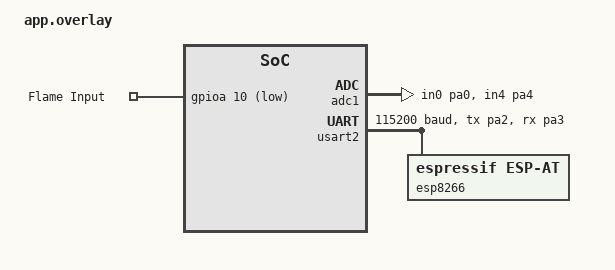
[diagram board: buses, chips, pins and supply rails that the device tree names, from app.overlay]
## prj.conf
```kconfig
# Console and logging
CONFIG_SERIAL=y
CONFIG_CONSOLE=y
CONFIG_UART_CONSOLE=y
CONFIG_STDOUT_CONSOLE=y
CONFIG_PRINTK=y

# UART driver (with async API)
CONFIG_UART_ASYNC_API=y
CONFIG_UART_INTERRUPT_DRIVEN=y
CONFIG_UART_LINE_CTRL=y

# Kernel / threads
CONFIG_MAIN_STACK_SIZE=2048
CONFIG_MULTITHREADING=y

# Optional: logging levels (for debugging)
CONFIG_LOG=y
CONFIG_LOG_DEFAULT_LEVEL=3
```

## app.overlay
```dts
&adc1 {
    pinctrl-0 = <&adc1_in0_pa0 &adc1_in4_pa4>;
    pinctrl-names = "default";
    status = "okay";
};

/ {
    flame_sensor: flame_sensor {
        compatible = "gpio-keys";
        label = "Flame Sensor";

        flame_input: flame_input {
            gpios = <&gpioa 10 GPIO_ACTIVE_LOW>;
            label = "Flame Input";
        };
    };
};

&usart2 {
	pinctrl-0 = <&usart2_tx_pa2 &usart2_rx_pa3>;
	pinctrl-names = "default";
	current-speed = <115200>;
	status = "okay";

    esp8266 {
		compatible = "espressif,esp-at";
		status = "okay";
	};
};
```

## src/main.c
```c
#include <zephyr/kernel.h>
#include <zephyr/drivers/adc.h>
#include <zephyr/drivers/gpio.h>
#include <zephyr/drivers/uart.h>
#include <zephyr/sys/printk.h>
#include <zephyr/sys/util.h>
#include <zephyr/types.h>
#include <string.h>

#define STACK_SIZE 1024
#define SMOKE_PRIORITY 5
#define FLAME_PRIORITY 4

/* === WiFi credentials === */
#define WIFI_SSID "Swamp"
#define WIFI_PASS "doodle123"

/* === ADC Setup === */
#define ADC_NODE DT_NODELABEL(adc1)   /* Use ADC1 */
#define ADC_CHANNEL_SMOKE 0           /* channel 0 (PA0) */
#define ADC_RESOLUTION 12
#define ADC_GAIN ADC_GAIN_1
#define ADC_REFERENCE ADC_REF_INTERNAL
#define ADC_ACQUISITION_TIME ADC_ACQ_TIME_DEFAULT

static const struct device *adc_dev = DEVICE_DT_GET(ADC_NODE);
static int16_t smoke_buffer;

/* Flame digital input */
#define DIGITAL_FLAME_NODE DT_NODELABEL(flame_input)
static const struct gpio_dt_spec flame = GPIO_DT_SPEC_GET(DIGITAL_FLAME_NODE, gpios);

/* LED */
#define LED_NODE DT_ALIAS(led0)
static const struct gpio_dt_spec led = GPIO_DT_SPEC_GET(LED_NODE, gpios);

/* Threshold */
#define SMOKE_THRESHOLD 1500

/* ADC config */
static const struct adc_channel_cfg smoke_cfg = {
    .gain             = ADC_GAIN,
    .reference        = ADC_REFERENCE,
    .acquisition_time = ADC_ACQUISITION_TIME,
    .channel_id       = ADC_CHANNEL_SMOKE,
};

/* UART (ESP-01) */
#define UART_NODE DT_NODELABEL(usart2)
static const struct device *uart_dev = DEVICE_DT_GET(UART_NODE);

/* Configure UART parameters */
struct uart_config uart_cfg = {
    .baudrate = 115200,
    .parity = UART_CFG_PARITY_NONE,
    .stop_bits = UART_CFG_STOP_BITS_1,
    .data_bits = UART_CFG_DATA_BITS_8,
    .flow_ctrl = UART_CFG_FLOW_CTRL_NONE,
};


/* Thread stacks */
K_THREAD_STACK_DEFINE(smoke_stack, STACK_SIZE);
K_THREAD_STACK_DEFINE(flame_stack, STACK_SIZE);
struct k_thread smoke_tid;
struct k_thread flame_tid;

/* Mutex to guard UART/ESP access so threads don't interleave AT commands */
static struct k_mutex uart_mutex;

/* Small helper: poll-out a zero-terminated string */
static void uart_send_str(const char *s)
{
    for (size_t i = 0; i < strlen(s); ++i) {
        uart_poll_out(uart_dev, s[i]);
    }
}

/* Send command (adds CRLF). Caller must hold uart_mutex if parallel access possible. */
static void esp_send_cmd(const char *cmd)
{
    uart_send_str(cmd);
    uart_poll_out(uart_dev, '\r');
    uart_poll_out(uart_dev, '\n');
    printk(">>>ESP: %s\n", cmd);
}

/* =================== MODIFIED esp_read_response ===================
 * Read available characters from UART into buffer with timeout_ms (non-blocking poll). 
 * Returns number of bytes read (>=0) or -1 on error.
 * Caller must hold mutex if desired.
 * Now prints every response automatically.
 */
static int esp_read_response(char *buf, size_t buf_size, int timeout_ms)
{
    size_t idx = 0;
    int elapsed = 0;
    while (elapsed < timeout_ms && idx < buf_size - 1) {
        int c = uart_poll_in(uart_dev, (unsigned char *)&buf[idx]);
        if (c == 0) {
            /* got one byte */
            idx++;
            continue;
        }
        /* no data yet */
        k_msleep(10);
        elapsed += 10;
    }
    buf[idx] = '\0';

    if (idx > 0) {
        printk("<<<ESP: %s\n", buf);   /* <-- print raw response */
    }

    return (int)idx;
}
/* ================================================================== */

/* Wait for substring in response (simple helper). Returns true if found within timeout_ms. */
static bool esp_expect(const char *needle, int timeout_ms)
{
    char resp[256];
    int elapsed = 0;

    while (elapsed < timeout_ms) {
        int len = esp_read_response(resp, sizeof(resp), 500);
        if (len > 0) {
            if (strstr(resp, needle) != NULL) {
                return true;
            }
        }
        elapsed += 500;
    }
    return false;
}


/* Initialize/Connect ESP to your WiFi hotspot */
static bool esp_wifi_connect(void)
{
    char buf[256];

    if (!device_is_ready(uart_dev)) {
        printk("UART device not ready\n");
        return false;
    }

    k_mutex_lock(&uart_mutex, K_FOREVER);

    /* Reset module */
    esp_send_cmd("AT+RST");
    k_msleep(5000);
    /* Clear any startup lines */
    esp_read_response(buf, sizeof(buf), 500);

    /* Set station mode */
    esp_send_cmd("AT+CWMODE=1");
    k_msleep(500);
    esp_read_response(buf, sizeof(buf), 500);

    /* Connect to WiFi */
    snprintf(buf, sizeof(buf), "AT+CWJAP=\"%s\",\"%s\"", WIFI_SSID, WIFI_PASS);
    esp_send_cmd(buf);

    /* wait up to 10s for connection */
    bool ok = esp_expect("WIFI CONNECTED", 10000) || esp_expect("OK", 10000);
    if (!ok) {
        printk("ESP WiFi join failed\n");
        k_mutex_unlock(&uart_mutex);
        return false;
    }

    /* optionally check IP */
    esp_send_cmd("AT+CIFSR");
    k_msleep(500);
    esp_read_response(buf, sizeof(buf), 500);

    k_mutex_unlock(&uart_mutex);
    printk("ESP connected to WiFi (attempted)\n");
    return true;
}

/* Send an HTTP POST via ESP (blocking, protected by mutex) 
 * host: e.g. "www.google.com"
 * port: 80
 * path: "/"
 * payload: body string
 *
 * Returns 0 on (attempted) send, -1 on error.
 */
static int esp_http_post(const char *host, int port, const char *path, const char *payload)
{
    char cmd[128];
    char http_req[512];
    int payload_len = strlen(payload);

    k_mutex_lock(&uart_mutex, K_FOREVER);

    /* Start TCP connection */
    snprintf(cmd, sizeof(cmd), "AT+CIPSTART=\"TCP\",\"%s\",%d", host, port);
    esp_send_cmd(cmd);

    /* wait for CONNECT or OK */
    if (!esp_expect("CONNECT", 5000) && !esp_expect("OK", 5000)) {
        printk("CIPSTART failed for %s\n", host);
        /* attempt to close any partial connection */
        esp_send_cmd("AT+CIPCLOSE");
        k_mutex_unlock(&uart_mutex);
        return -1;
    }
    k_msleep(200);

    /* Build HTTP request */
    snprintf(http_req, sizeof(http_req),
             "POST %s HTTP/1.1\r\n"
             "Host: %s\r\n"
             "Content-Type: application/x-www-form-urlencoded\r\n"
             "Content-Length: %d\r\n\r\n"
             "%s",
             path, host, payload_len, payload);

    /* Tell ESP how many bytes we will send */
    snprintf(cmd, sizeof(cmd), "AT+CIPSEND=%d", (int)strlen(http_req));
    esp_send_cmd(cmd);

    /* ESP will respond with '>' when ready to receive; wait 2s */
    if (!esp_expect(">", 3000)) {
        printk("CIPSEND prompt not received\n");
        esp_send_cmd("AT+CIPCLOSE");
        k_mutex_unlock(&uart_mutex);
        return -1;
    }

    /* Send the actual HTTP request */
    uart_send_str(http_req);
    /* some firmwares need CRLF at end */
    uart_poll_out(uart_dev, '\r');
    uart_poll_out(uart_dev, '\n');

    /* Wait for "SEND OK" or server response (short timeout) */
    esp_read_response(cmd, sizeof(cmd), 3000);
    printk("HTTP send response: %s\n", cmd);

    /* Close connection */
    esp_send_cmd("AT+CIPCLOSE");
    k_msleep(200);

    k_mutex_unlock(&uart_mutex);
    return 0;
}

/* Smoke thread: reads analog smoke sensor, toggles LED and sends POST to google */
void smoke_thread(void *arg1, void *arg2, void *arg3)
{
    struct adc_sequence sequence = {
        .channels = BIT(ADC_CHANNEL_SMOKE),
        .buffer = &smoke_buffer,
        .buffer_size = sizeof(smoke_buffer),
        .resolution = ADC_RESOLUTION,
    };

    /* Ensure ADC is ready (main already set up but double-check) */
    if (!device_is_ready(adc_dev)) {
        printk("ADC device not ready in smoke thread\n");
        return;
    }

    while (1) {
        if (adc_read(adc_dev, &sequence) != 0) {
            printk("ADC smoke read failed\n");
            k_msleep(1000);
            continue;
        }

        printk("Smoke: %d\n", smoke_buffer);
        if (smoke_buffer > SMOKE_THRESHOLD) {
            gpio_pin_set_dt(&led, 1);
        } else {
            gpio_pin_set_dt(&led, 0);
        }

        /* Prepare payload and post to Google (port 80, path /) */
        char payload[64];
        snprintf(payload, sizeof(payload), "Smoke=%d", smoke_buffer);

        if (esp_http_post("www.google.com", 80, "/", payload) == 0) {
            printk("Smoke posted to Google (attempt)\n");
        } else {
            printk("Failed posting smoke to Google\n");
        }

        k_msleep(5000); /* send every 5s */
    }
}

/* Flame thread: reads digital flame sensor and posts to Yahoo */
void flame_thread(void *arg1, void *arg2, void *arg3)
{
    int val;

    if (!gpio_is_ready_dt(&flame)) {
        printk("Error: GPIO device not ready for flame\n");
        return;
    }

    while (1) {
        val = gpio_pin_get_dt(&flame);
        if (val < 0) {
            printk("Error %d: failed to read flame pin\n", val);
        } else if (val == 1) {
            
            printk("Fire detected!\n");
            
            /* Send to Yahoo */
            char payload[32];
            snprintf(payload, sizeof(payload), "Flame=%d", 1);

            if (esp_http_post("www.yahoo.com", 80, "/", payload) == 0) {
                printk("Flame posted to Yahoo (attempt)\n");
            } else {
                printk("Failed posting flame to Yahoo\n");
            }

        } else {
            printk("No fire.\n");
        }

        k_msleep(5000);
    }
}

/* =================== Simple ESP8266 AT test ===================
 * This sends "AT\r\n" once after boot and prints the response.
 * Use this to verify that STM32 <-> ESP UART communication works.
 */
static void esp_at_test(void)
{
    char buf[128];

    if (!device_is_ready(uart_dev)) {
        printk("UART device not ready (esp_at_test)\n");
        return;
    }

    k_mutex_lock(&uart_mutex, K_FOREVER);

    /* Send plain AT command with CRLF */
    uart_send_str("AT");
    uart_poll_out(uart_dev, '\r');
    uart_poll_out(uart_dev, '\n');
    printk(">>> Sent AT test command\n");

    /* Read back response (1 second timeout) */
    int len = esp_read_response(buf, sizeof(buf), 1000);
    if (len > 0) {
        printk("<<< AT test response: %s\n", buf);
    } else {
        printk("<<< No AT test response received\n");
    }

    k_mutex_unlock(&uart_mutex);
}
/* ============================================================= */

static void esp_at_sniff(void)
{
    char c;
    printk("=== ESP Sniff for 5s ===\n");
    int elapsed = 0;
    while (elapsed < 5000) {
        if (uart_poll_in(uart_dev, (unsigned char *)&c) == 0) {
            printk("%c", c);
        } else {
            k_msleep(10);
            elapsed += 10;
        }
    }
    printk("\n=== Sniff end ===\n");
}

int main(void)
{
    int ret;

    k_mutex_init(&uart_mutex);

    /* ADC init */
    if (!device_is_ready(adc_dev)) {
        printk("ADC device not ready\n");
        return 0;
    }
    ret = adc_channel_setup(adc_dev, &smoke_cfg);
    if (ret != 0) {
        printk("adc_channel_setup failed: %d\n", ret);
        return 0;
    }

    /* LED init */
    if (!gpio_is_ready_dt(&led)) {
        printk("LED not ready\n");
        return 0;
    }
    gpio_pin_configure_dt(&led, GPIO_OUTPUT_INACTIVE);

    /* Flame pin init */
    ret = gpio_pin_configure_dt(&flame, GPIO_INPUT);
    if (ret != 0) {
        printk("Error %d: failed to configure flame pin\n", ret);
        return 0;
    }

    /* UART init */
    if (!device_is_ready(uart_dev)) {
        printk("UART device not ready\n");
        return 0;
    }
    ret = uart_configure(uart_dev, &uart_cfg);
    if (ret) {
        printk("UART config failed: %d\n", ret);
        return 0;
    }

    printk("Initializing ESP and connecting to WiFi...\n");

    /* Quick AT test before WiFi connect */
    esp_at_test();
    esp_at_sniff();

    if (!esp_wifi_connect()) {
        printk("Failed to connect ESP to WiFi. Check credentials and wiring.\n");
        /* continue anyway — threads will attempt posts but likely fail */
    }

    printk("Starting threads for smoke and flame sensors...\n");
    k_thread_create(&smoke_tid, smoke_stack, STACK_SIZE,
                    smoke_thread, NULL, NULL, NULL,
                    SMOKE_PRIORITY, 0, K_NO_WAIT);

    k_thread_create(&flame_tid, flame_stack, STACK_SIZE,
                    flame_thread, NULL, NULL, NULL,
                    FLAME_PRIORITY, 0, K_NO_WAIT);

    return 0;
}
```
